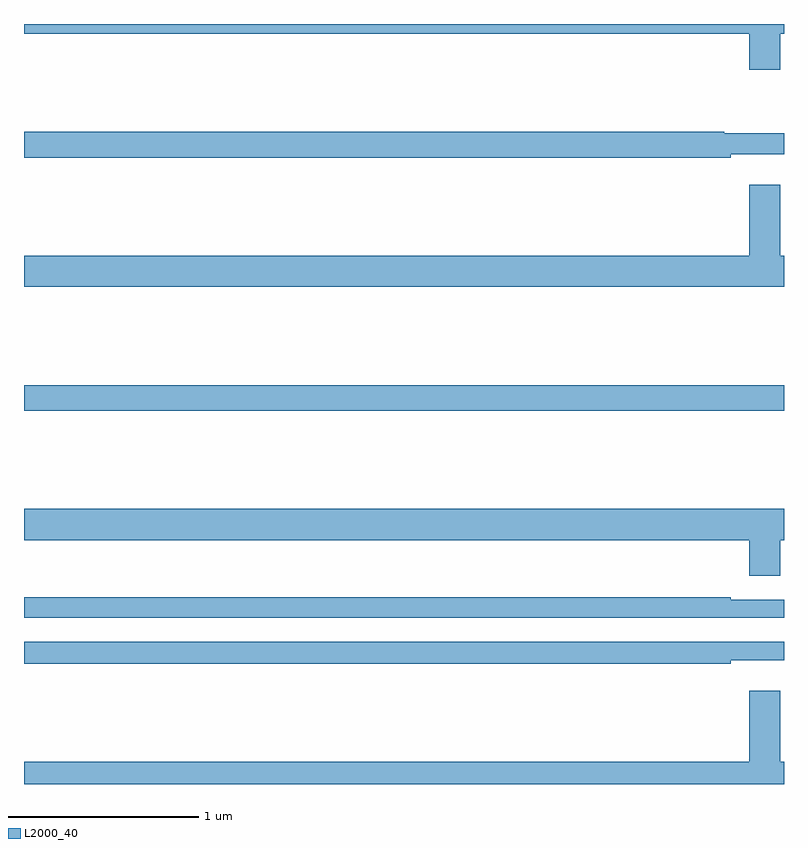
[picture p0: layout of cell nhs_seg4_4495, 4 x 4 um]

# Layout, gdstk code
import gdstk
lib = gdstk.Library(unit=1e-6, precision=1e-09)
def R(c, l, rs):  # rectangles x0, y0, x1, y1
    for r in rs: c.add(gdstk.rectangle(r[:2], r[2:], *l))
def P(c, l, *ps):  # polygons
    for p in ps: c.add(gdstk.Polygon(p, *l))
L2000_40 = (2000, 40)

nhs_seg4_4495 = lib.new_cell('nhs_seg4_4495')
R(nhs_seg4_4495, L2000_40, [(353,766.864,357,767)])
P(nhs_seg4_4495, L2000_40, [(356.98,768.848),(357,768.848),(357,768.9),(353,768.9),(353,768.848),(356.816,768.848),(356.816,768.66),(356.98,768.66)],
  [(356.72,768.215),(357,768.215),(357,768.325),(356.686,768.325),(356.686,768.332),(353,768.332),(353,768.196),(356.72,768.196)],
  [(357,767.68),(356.98,767.68),(356.98,768.055),(356.816,768.055),(356.816,767.68),(353,767.68),(353,767.516),(357,767.516)],
  [(356.98,766.184),(357,766.184),(357,766.348),(353,766.348),(353,766.184),(356.816,766.184),(356.816,765.996),(356.98,765.996)],
  [(357,765.87),(356.72,765.87),(356.72,765.883),(353,765.883),(353,765.774),(357,765.774)],
  [(356.72,765.551),(357,765.551),(357,765.648),(353,765.648),(353,765.532),(356.72,765.532)],
  [(357,765.016),(356.98,765.016),(356.98,765.391),(356.816,765.391),(356.816,765.016),(353,765.016),(353,764.9),(357,764.9)])

lib.write_gds('nhs_seg4_4495.gds')
